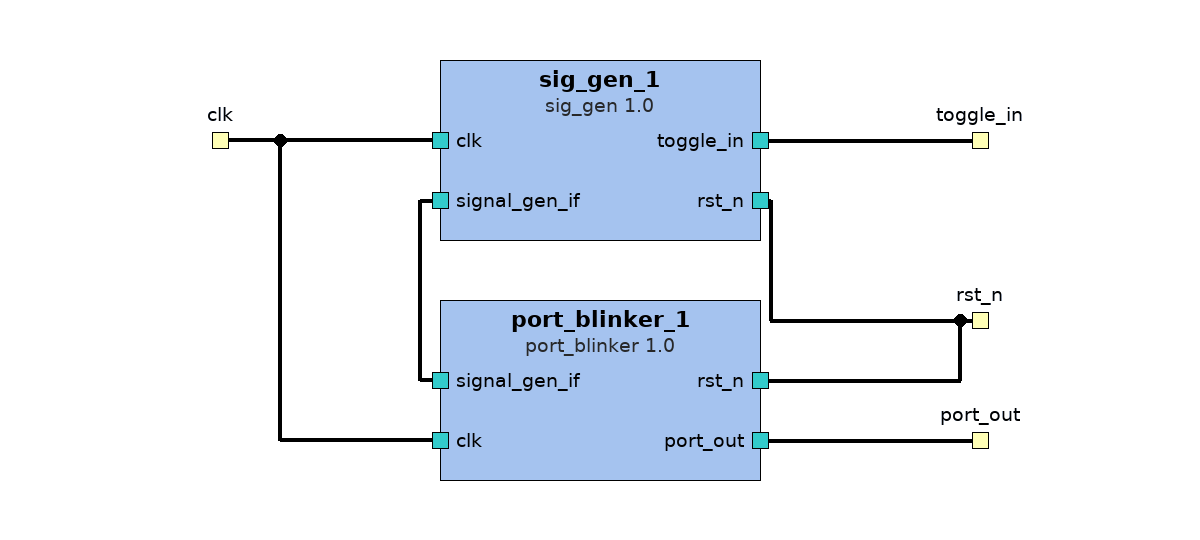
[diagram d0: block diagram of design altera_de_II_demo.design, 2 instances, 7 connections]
<?xml version="1.0" encoding="UTF-8"?>
<!-- Created by Kactus 2 document generator 13:13:32 05.12.2011 -->
<spirit:design xmlns:kactus2="http://funbase.cs.tut.fi/" xmlns:spirit="http://www.spiritconsortium.org/XMLSchema/SPIRIT/1.5" xmlns:xsi="http://www.w3.org/2001/XMLSchema-instance" xsi:schemaLocation="http://www.spiritconsortium.org/XMLSchema/SPIRIT/1.5 http://www.spiritconsortium.org/XMLSchema/SPIRIT/1.5/index.xsd"><spirit:vendor>TUT</spirit:vendor><spirit:library>soc</spirit:library><spirit:name>altera_de_II_demo.design</spirit:name>
 <spirit:version>1.0</spirit:version><spirit:componentInstances>
 <spirit:componentInstance><spirit:instanceName>sig_gen_1</spirit:instanceName><spirit:componentRef spirit:vendor="TUT" spirit:library="ip.hwp.accelerator" spirit:name="sig_gen" spirit:version="1.0"/><spirit:configurableElementValues><spirit:configurableElementValue spirit:referenceId="SIGNAL_VAL">4_000_000</spirit:configurableElementValue></spirit:configurableElementValues></spirit:componentInstance>
 <spirit:componentInstance><spirit:instanceName>port_blinker_1</spirit:instanceName><spirit:componentRef spirit:vendor="TUT" spirit:library="ip.hwp.accelerator" spirit:name="port_blinker" spirit:version="1.0"/></spirit:componentInstance>
</spirit:componentInstances>
 <spirit:interconnections><spirit:interconnection><spirit:name>port_blinker_1_signal_gen_if_to_sig_gen_1_signal_gen_if</spirit:name><spirit:activeInterface spirit:componentRef="port_blinker_1" spirit:busRef="signal_gen_if"/><spirit:activeInterface spirit:componentRef="sig_gen_1" spirit:busRef="signal_gen_if"/></spirit:interconnection></spirit:interconnections>
 <spirit:hierConnections>
  <spirit:hierConnection spirit:interfaceRef="rst_n"><spirit:interface spirit:componentRef="sig_gen_1" spirit:busRef="rst_n"/></spirit:hierConnection>
  <spirit:hierConnection spirit:interfaceRef="rst_n"><spirit:interface spirit:componentRef="port_blinker_1" spirit:busRef="rst_n"/></spirit:hierConnection>
  <spirit:hierConnection spirit:interfaceRef="port_out"><spirit:interface spirit:componentRef="port_blinker_1" spirit:busRef="port_out"/></spirit:hierConnection>
  <spirit:hierConnection spirit:interfaceRef="clk"><spirit:interface spirit:componentRef="sig_gen_1" spirit:busRef="clk"/></spirit:hierConnection>
  <spirit:hierConnection spirit:interfaceRef="clk"><spirit:interface spirit:componentRef="port_blinker_1" spirit:busRef="clk"/></spirit:hierConnection>
  <spirit:hierConnection spirit:interfaceRef="toggle_in"><spirit:interface spirit:componentRef="sig_gen_1" spirit:busRef="toggle_in"/></spirit:hierConnection>
 </spirit:hierConnections>
</spirit:design>

